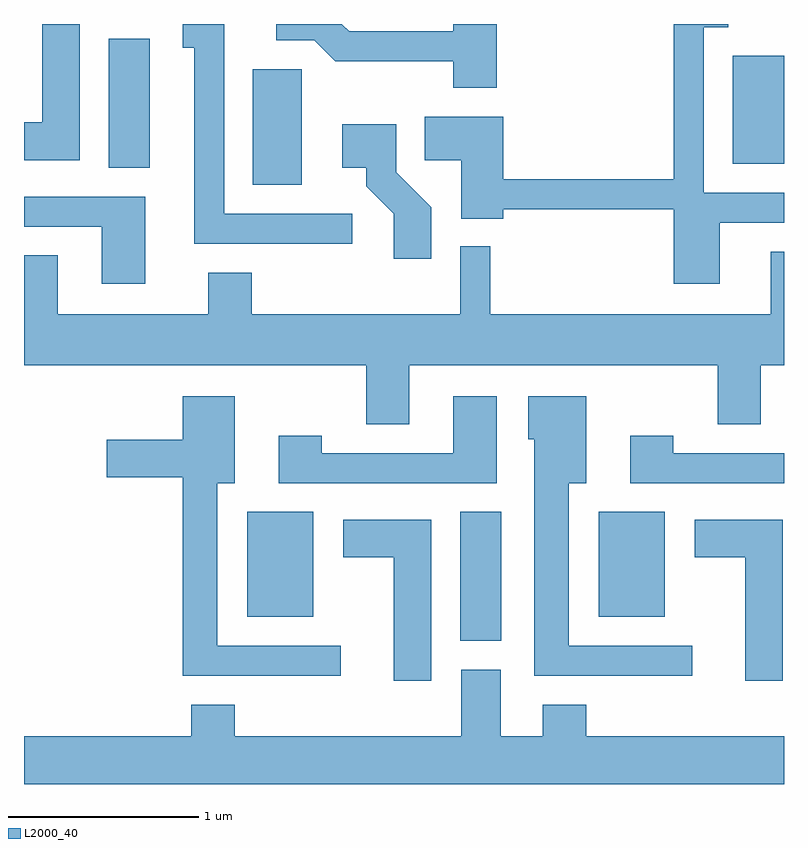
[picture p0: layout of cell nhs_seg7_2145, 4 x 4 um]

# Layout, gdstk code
import gdstk
lib = gdstk.Library(unit=1e-6, precision=1e-09)
def R(c, l, rs):  # rectangles x0, y0, x1, y1
    for r in rs: c.add(gdstk.rectangle(r[:2], r[2:], *l))
def P(c, l, *ps):  # polygons
    for p in ps: c.add(gdstk.Polygon(p, *l))
L2000_40 = (2000, 40)

nhs_seg7_2145 = lib.new_cell('nhs_seg7_2145')
R(nhs_seg7_2145, L2000_40, [(251.906,1795.006,252.124,1795.684), (250.786,1795.131,251.134,1795.684), (252.636,1795.131,252.984,1795.684), (250.816,1797.406,251.074,1798.014), (250.056,1797.496,250.274,1798.174), (253.341,1797.516,253.611,1798.084)])
P(nhs_seg7_2145, L2000_40, [(252.099,1798.252),(251.871,1798.252),(251.871,1798.214),(251.322,1798.214),(251.284,1798.252),(250.938,1798.252),(250.938,1798.166),(251.139,1798.166),(251.249,1798.056),(251.871,1798.056),(251.871,1797.916),(252.099,1797.916)],
  [(251.338,1797.254),(250.664,1797.254),(250.664,1798.252),(250.446,1798.252),(250.446,1798.126),(250.506,1798.126),(250.506,1797.096),(251.338,1797.096)],
  [(249.904,1798.252),(249.706,1798.252),(249.706,1797.734),(249.611,1797.734),(249.611,1797.536),(249.904,1797.536)],
  [(253.274,1797.206),(253.611,1797.206),(253.611,1797.364),(253.189,1797.364),(253.189,1798.236),(253.318,1798.236),(253.318,1798.252),(253.031,1798.252),(253.031,1797.434),(252.134,1797.434),(252.134,1797.764),(251.721,1797.764),(251.721,1797.536),(251.911,1797.536),(251.911,1797.226),(252.134,1797.226),(252.134,1797.276),(253.031,1797.276),(253.031,1796.886),(253.274,1796.886)],
  [(251.754,1797.287),(251.569,1797.472),(251.569,1797.724),(251.286,1797.724),(251.286,1797.496),(251.411,1797.496),(251.411,1797.399),(251.556,1797.254),(251.556,1797.016),(251.754,1797.016)],
  [(250.249,1797.344),(249.611,1797.344),(249.611,1797.186),(250.021,1797.186),(250.021,1796.886),(250.249,1796.886)],
  [(251.639,1796.456),(253.261,1796.456),(253.261,1796.146),(253.489,1796.146),(253.489,1796.456),(253.611,1796.456),(253.611,1797.054),(253.541,1797.054),(253.541,1796.724),(252.064,1796.724),(252.064,1797.083),(251.906,1797.083),(251.906,1796.724),(250.809,1796.724),(250.809,1796.944),(250.581,1796.944),(250.581,1796.724),(249.789,1796.724),(249.789,1797.034),(249.611,1797.034),(249.611,1796.456),(251.411,1796.456),(251.411,1796.146),(251.639,1796.146)],
  [(253.128,1794.979),(252.479,1794.979),(252.479,1795.836),(252.569,1795.836),(252.569,1796.294),(252.266,1796.294),(252.266,1796.066),(252.296,1796.066),(252.296,1794.821),(253.128,1794.821)],
  [(251.278,1794.979),(250.629,1794.979),(250.629,1795.836),(250.719,1795.836),(250.719,1796.294),(250.446,1796.294),(250.446,1796.064),(250.046,1796.064),(250.046,1795.866),(250.446,1795.866),(250.446,1794.821),(251.278,1794.821)],
  [(252.099,1796.294),(251.871,1796.294),(251.871,1795.994),(251.179,1795.994),(251.179,1796.084),(250.951,1796.084),(250.951,1795.836),(252.099,1795.836)],
  [(253.611,1795.994),(253.029,1795.994),(253.029,1796.084),(252.801,1796.084),(252.801,1795.836),(253.611,1795.836)],
  [(251.754,1795.644),(251.291,1795.644),(251.291,1795.446),(251.556,1795.446),(251.556,1794.796),(251.754,1794.796)],
  [(253.604,1795.644),(253.141,1795.644),(253.141,1795.446),(253.406,1795.446),(253.406,1794.796),(253.604,1794.796)],
  [(253.611,1794.504),(252.569,1794.504),(252.569,1794.669),(252.341,1794.669),(252.341,1794.504),(252.119,1794.504),(252.119,1794.854),(251.911,1794.854),(251.911,1794.504),(250.719,1794.504),(250.719,1794.669),(250.491,1794.669),(250.491,1794.504),(249.611,1794.504),(249.611,1794.252),(253.611,1794.252)])

lib.write_gds('nhs_seg7_2145.gds')
